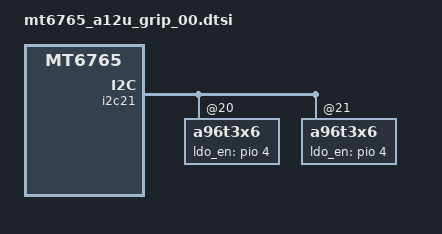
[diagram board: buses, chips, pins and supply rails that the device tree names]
&i2c21 {
	a96t3x6@20 {
		a96t3x6,ldo_en = <&pio 4 0>;
		a96t3x6,fw_path = "abov/a96t356_a12_usa_main.bin";
	};

	a96t3x6@21 {
		a96t3x6,ldo_en = <&pio 4 0>;
		a96t3x6,fw_path = "abov/a96t356_a12_usa_sub.bin";
	};
};
